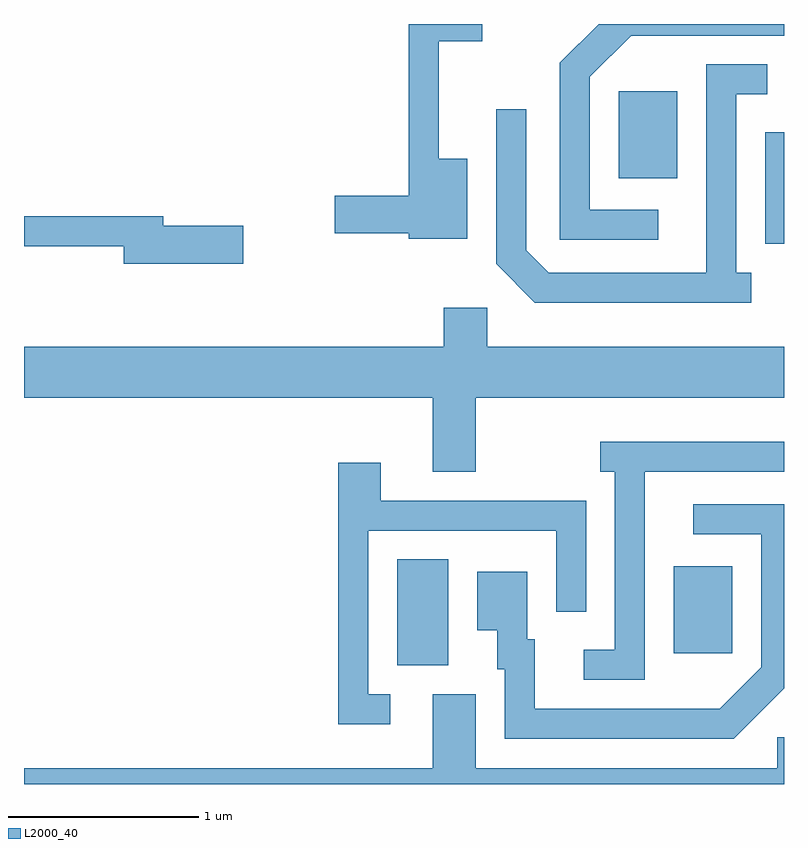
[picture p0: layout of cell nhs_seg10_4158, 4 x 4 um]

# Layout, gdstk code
import gdstk
lib = gdstk.Library(unit=1e-6, precision=1e-09)
def R(c, l, rs):  # rectangles x0, y0, x1, y1
    for r in rs: c.add(gdstk.rectangle(r[:2], r[2:], *l))
def P(c, l, *ps):  # polygons
    for p in ps: c.add(gdstk.Polygon(p, *l))
L2000_40 = (2000, 40)

nhs_seg10_4158 = lib.new_cell('nhs_seg10_4158')
R(nhs_seg10_4158, L2000_40, [(309.576,2139.146,309.844,2139.704), (311.031,2139.211,311.339,2139.669), (311.511,2141.366,311.611,2141.953), (310.741,2141.711,311.049,2142.169)])
P(nhs_seg10_4158, L2000_40, [(310.948,2141.544),(310.589,2141.544),(310.589,2142.244),(310.807,2142.461),(311.611,2142.461),(311.611,2142.522),(310.637,2142.522),(310.431,2142.317),(310.431,2141.386),(310.948,2141.386)],
  [(309.944,2141.814),(309.794,2141.814),(309.794,2142.431),(310.023,2142.431),(310.023,2142.522),(309.636,2142.522),(309.636,2141.619),(309.246,2141.619),(309.246,2141.421),(309.636,2141.421),(309.636,2141.391),(309.944,2141.391)],
  [(311.438,2141.214),(311.359,2141.214),(311.359,2142.151),(311.523,2142.151),(311.523,2142.309),(311.201,2142.309),(311.201,2141.214),(310.372,2141.214),(310.254,2141.332),(310.254,2142.073),(310.096,2142.073),(310.096,2141.259),(310.299,2141.056),(311.438,2141.056)],
  [(308.764,2141.459),(308.344,2141.459),(308.344,2141.509),(307.611,2141.509),(307.611,2141.351),(308.136,2141.351),(308.136,2141.261),(308.764,2141.261)],
  [(309.989,2140.556),(311.611,2140.556),(311.611,2140.824),(310.049,2140.824),(310.049,2141.029),(309.821,2141.029),(309.821,2140.824),(307.611,2140.824),(307.611,2140.556),(309.761,2140.556),(309.761,2140.166),(309.989,2140.166)],
  [(310.879,2140.166),(311.611,2140.166),(311.611,2140.324),(310.643,2140.324),(310.643,2140.166),(310.721,2140.166),(310.721,2139.229),(310.558,2139.229),(310.558,2139.071),(310.879,2139.071)],
  [(309.538,2138.994),(309.424,2138.994),(309.424,2139.856),(310.411,2139.856),(310.411,2139.428),(310.569,2139.428),(310.569,2140.014),(309.489,2140.014),(309.489,2140.214),(309.266,2140.214),(309.266,2138.836),(309.538,2138.836)],
  [(311.611,2139.026),(311.611,2139.994),(311.133,2139.994),(311.133,2139.836),(311.491,2139.836),(311.491,2139.137),(311.274,2138.919),(310.299,2138.919),(310.299,2139.284),(310.259,2139.284),(310.259,2139.639),(309.996,2139.639),(309.996,2139.331),(310.101,2139.331),(310.101,2139.126),(310.141,2139.126),(310.141,2138.761),(311.347,2138.761)],
  [(311.611,2138.769),(311.576,2138.769),(311.576,2138.604),(309.989,2138.604),(309.989,2138.994),(309.761,2138.994),(309.761,2138.604),(307.611,2138.604),(307.611,2138.522),(311.611,2138.522)])

lib.write_gds('nhs_seg10_4158.gds')
